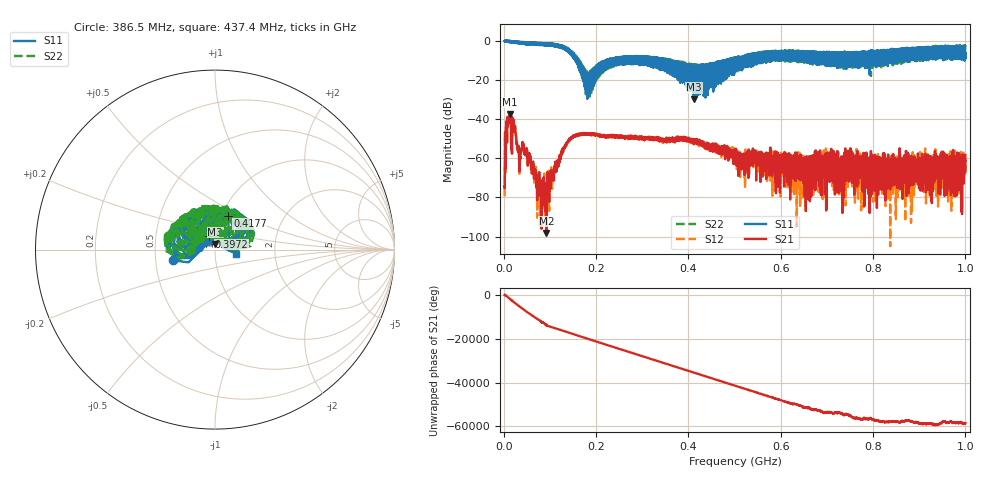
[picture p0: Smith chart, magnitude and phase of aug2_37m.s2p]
!Keysight Technologies N9923A: A.12.45
!Date: Saturday, 02 August 2025 19:27:12
!Timezone: (UTC+08:00) Kuala Lumpur, Singapore
!Model: N9923A
!Serial: MY61181427
!GPS Latitude:
!GPS Longitude:
!GPS TimeStamp: 0001-01-01 00:00:00Z
!GPS Seconds Since Last Read: 0
!CHECKSUM:0068548214
!Correction: S11(ON U)S21(ON U)S12(ON U)S22(ON U)
!S2P File: Measurements:S11,S21,S12,S22:
# Hz S DB R 50
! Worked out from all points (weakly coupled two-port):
!   4001 points, 2 MHz to 1 GHz, reference 50 ohm
!   highest |S21| = -37.34 dB at 13.98 MHz (marker M1); lowest = -98.1 dB at 92.57 MHz (marker M2)
!   lowest |S11| = -29.9 dB at 412.2 MHz (marker M3), VSWR 1.07, Z = 50 + j3.21 ohm
!   |S11| at or under -10 dB: 160.8 MHz to 223.4 MHz (62.54 MHz wide, 32.6 % of centre); 357.9 MHz to 361 MHz (3.161 MHz wide, 0.88 % of centre); 361.1 MHz to 478 MHz (117 MHz wide, 27.9 % of centre) (the widest 3 of 305)
!   |S22| runs from -29.1 to 0.1 dB; largest |S21 - S12| = 0.0027
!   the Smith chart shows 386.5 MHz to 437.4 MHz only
!   S11 on the Smith chart (normalised r, x): 386.5 MHz: 0.62, -0.08; 397.2 MHz: 0.93, +0.14; 417.7 MHz: 1.07, +0.42; 437.4 MHz: 1.26, -0.06
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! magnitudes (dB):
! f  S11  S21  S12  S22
! 2 MHz  -0.1  -74.2  -79.4  -0.1
! 7.739 MHz  -0.5  -42.4  -42.4  -0.4
! 13.98 MHz  -0.7  -37.3  -37.4  -0.7
! 32.69 MHz  -1.4  -55.6  -56.3  -1.4
! 45.16 MHz  -0.7  -57.3  -56.3  -0.7
! 74.6 MHz  -2.2  -69.4  -73.1  -2.0
! 92.57 MHz  -1.9  -98.1  -77.4  -1.5
! 137.5 MHz  -4.0  -52.4  -52.4  -3.5
! 168.4 MHz  -14.9  -47.4  -47.6  -15.9
! 184.6 MHz  -23.3  -47.6  -47.4  -29.1
! 230.3 MHz  -9.1  -49.0  -48.4  -9.9
! 334.8 MHz  -12.0  -50.4  -50.8  -9.3
! 386.5 MHz  -12.3  -49.6  -50.7  -11.3
! 397.2 MHz  -21.9  -51.0  -50.0  -16.2
! 412.2 MHz  -29.9  -50.5  -51.7  -16.1
! 417.7 MHz  -14.0  -51.5  -50.8  -21.4
! 437.4 MHz  -18.6  -54.1  -53.9  -19.8
! 501 MHz  -12.2  -55.4  -57.5  -14.4
! 667.4 MHz  -6.1  -58.7  -62.8  -11.0
! 833.8 MHz  -5.8  -74.7  -65.9  -8.5
! 969.1 MHz  -5.7  -67.9  -75.9  -5.1
! 1 GHz  -6.1  -58.4  -61.9  -2.9
